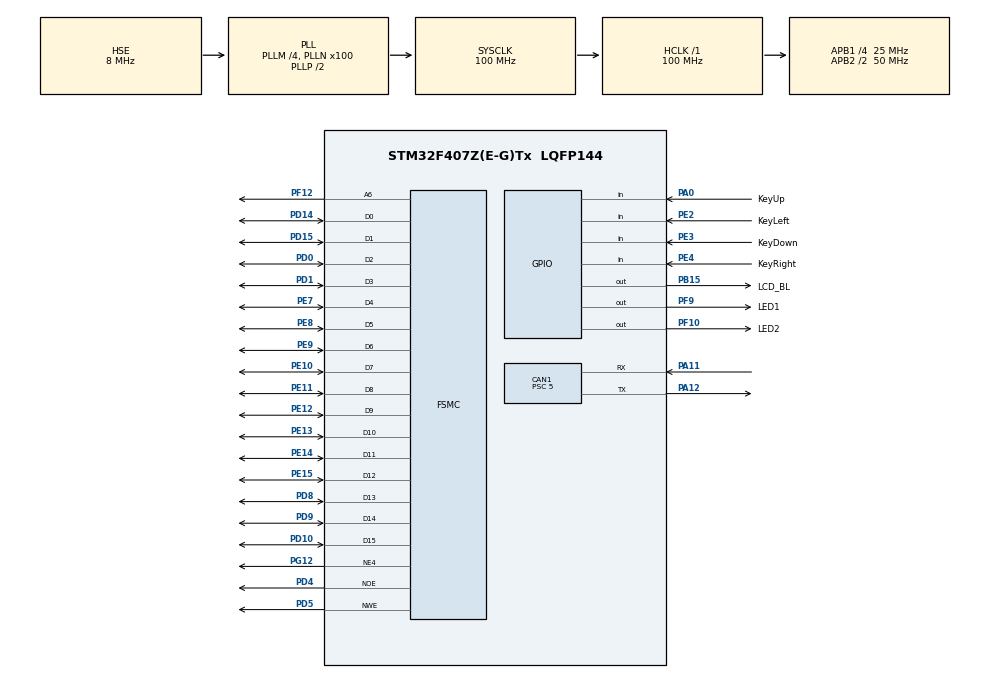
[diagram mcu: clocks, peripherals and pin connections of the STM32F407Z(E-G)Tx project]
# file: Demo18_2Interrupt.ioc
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CAN1.AWUM=ENABLE
CAN1.BS1=CAN_BS1_4TQ
CAN1.BS2=CAN_BS2_3TQ
CAN1.CalculateBaudRate=625000
CAN1.CalculateTimeBit=1600
CAN1.CalculateTimeQuantum=200.0
CAN1.Mode=CAN_MODE_LOOPBACK
CAN1.NART=ENABLE
CAN1.Prescaler=5
FSMC.AddressSetupTime4=2
FSMC.BusTurnAroundDuration4=0
FSMC.DataSetupTime4=16
FSMC.ExtendedAddressSetupTime4=4
FSMC.ExtendedBusTurnAroundDuration4=0
FSMC.ExtendedDataSetupTime4=9
FSMC.ExtendedMode4=FSMC_EXTENDED_MODE_ENABLE
Mcu.Family=STM32F4
Mcu.Name=STM32F407Z(E-G)Tx
Mcu.Package=LQFP144
NVIC.CAN1_RX0_IRQn=true\:1\:0\:true\:false\:true\:true\:true\:true
NVIC.CAN1_RX1_IRQn=true\:1\:0\:true\:false\:true\:true\:true\:true
NVIC.PriorityGroup=NVIC_PRIORITYGROUP_4
PA0-WKUP.GPIO_Label=KeyUp
PA0-WKUP.GPIO_PuPd=GPIO_PULLDOWN
PA0-WKUP.Signal=GPIO_Input
PA11.Mode=CAN_Activate
PA11.Signal=CAN1_RX
PA12.Mode=CAN_Activate
PA12.Signal=CAN1_TX
PA13.Mode=Serial_Wire
PA13.Signal=SYS_JTMS-SWDIO
PA14.Mode=Serial_Wire
PA14.Signal=SYS_JTCK-SWCLK
PB15.GPIO_Label=LCD_BL
PB15.PinState=GPIO_PIN_RESET
PB15.Signal=GPIO_Output
PD0.Signal=FSMC_D2_DA2
PD1.Signal=FSMC_D3_DA3
PD10.Signal=FSMC_D15_DA15
PD14.Signal=FSMC_D0_DA0
PD15.Signal=FSMC_D1_DA1
PD4.Signal=FSMC_NOE
PD5.Signal=FSMC_NWE
PD8.Signal=FSMC_D13_DA13
PD9.Signal=FSMC_D14_DA14
PE10.Signal=FSMC_D7_DA7
PE11.Signal=FSMC_D8_DA8
PE12.Signal=FSMC_D9_DA9
PE13.Signal=FSMC_D10_DA10
PE14.Signal=FSMC_D11_DA11
PE15.Signal=FSMC_D12_DA12
PE2.GPIO_Label=KeyLeft
PE2.GPIO_PuPd=GPIO_PULLUP
PE2.Signal=GPIO_Input
PE3.GPIO_Label=KeyDown
PE3.GPIO_PuPd=GPIO_PULLUP
PE3.Signal=GPIO_Input
PE4.GPIO_Label=KeyRight
PE4.GPIO_PuPd=GPIO_PULLUP
PE4.Signal=GPIO_Input
PE7.Signal=FSMC_D4_DA4
PE8.Signal=FSMC_D5_DA5
PE9.Signal=FSMC_D6_DA6
PF10.GPIO_Label=LED2
PF10.Signal=GPIO_Output
PF12.Signal=FSMC_A6
PF9.GPIO_Label=LED1
PF9.Signal=GPIO_Output
PG12.Mode=NorPsramChipSelect4_4
PG12.Signal=FSMC_NE4
PH0-OSC_IN.Mode=HSE-External-Oscillator
PH0-OSC_IN.Signal=RCC_OSC_IN
PH1-OSC_OUT.Mode=HSE-External-Oscillator
PH1-OSC_OUT.Signal=RCC_OSC_OUT
ProjectManager.HeapSize=0x200
ProjectManager.StackSize=0x400
ProjectManager.TargetToolchain=STM32CubeIDE
RCC.48MHZClocksFreq_Value=40000000
RCC.AHBFreq_Value=100000000
RCC.APB1CLKDivider=RCC_HCLK_DIV4
RCC.APB1Freq_Value=25000000
RCC.APB1TimFreq_Value=50000000
RCC.APB2CLKDivider=RCC_HCLK_DIV2
RCC.APB2Freq_Value=50000000
RCC.APB2TimFreq_Value=100000000
RCC.CortexFreq_Value=100000000
RCC.FLatency=FLASH_LATENCY_3
RCC.HCLKFreq_Value=100000000
RCC.HSE_VALUE=8000000
RCC.HSI_VALUE=16000000
RCC.LSE_VALUE=32768
RCC.PLLM=4
RCC.PLLN=100
RCC.PLLQ=5
RCC.PLLSourceVirtual=RCC_PLLSOURCE_HSE
RCC.SYSCLKFreq_VALUE=100000000
RCC.SYSCLKSource=RCC_SYSCLKSOURCE_PLLCLK
RCC.VCOOutputFreq_Value=200000000
SH.FSMC_A6.0=FSMC_A6,A6_4
SH.FSMC_D0_DA0.0=FSMC_D0,16b-d4
SH.FSMC_D10_DA10.0=FSMC_D10,16b-d4
SH.FSMC_D11_DA11.0=FSMC_D11,16b-d4
SH.FSMC_D12_DA12.0=FSMC_D12,16b-d4
SH.FSMC_D13_DA13.0=FSMC_D13,16b-d4
SH.FSMC_D14_DA14.0=FSMC_D14,16b-d4
SH.FSMC_D15_DA15.0=FSMC_D15,16b-d4
SH.FSMC_D1_DA1.0=FSMC_D1,16b-d4
SH.FSMC_D2_DA2.0=FSMC_D2,16b-d4
SH.FSMC_D3_DA3.0=FSMC_D3,16b-d4
SH.FSMC_D4_DA4.0=FSMC_D4,16b-d4
SH.FSMC_D5_DA5.0=FSMC_D5,16b-d4
SH.FSMC_D6_DA6.0=FSMC_D6,16b-d4
SH.FSMC_D7_DA7.0=FSMC_D7,16b-d4
SH.FSMC_D8_DA8.0=FSMC_D8,16b-d4
SH.FSMC_D9_DA9.0=FSMC_D9,16b-d4
SH.FSMC_NOE.0=FSMC_NOE,Lcd4
SH.FSMC_NWE.0=FSMC_NWE,Lcd4
VP_RNG_VS_RNG.Mode=RNG_Activate
board=custom

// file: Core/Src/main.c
/* USER CODE BEGIN Header */
/**
  ******************************************************************************
  * @file           : main.c
  * @brief          : Main program body
  ******************************************************************************
  * @attention
  *
  * Copyright (c) 2023 STMicroelectronics.
  * All rights reserved.
  *
  * This software is licensed under terms that can be found in the LICENSE file
  * in the root directory of this software component.
  * If no LICENSE file comes with this software, it is provided AS-IS.
  *
  ******************************************************************************
  */
/* USER CODE END Header */
#include "main.h"
#include "can.h"
#include "rng.h"
#include "gpio.h"
#include "fsmc.h"

/* USER CODE BEGIN Includes */
#include "lcd.h"
#include "keyled.h"
/* USER CODE END Includes */

void SystemClock_Config(void);

int main(void)
{

  /* MCU Configuration--------------------------------------------------------*/

  /* Reset of all peripherals, Initializes the Flash interface and the Systick. */
  HAL_Init();

  /* Configure the system clock */
  SystemClock_Config();

  /* Initialize all configured peripherals */
  MX_GPIO_Init();
  MX_FSMC_Init();
  MX_CAN1_Init();
  MX_RNG_Init();
  /* USER CODE BEGIN 2 */
  lcd_init();
  lcd_show_str(10, 10 + 0 * 30, 24, "Demo18_2: CAN Interrupt", RED);
  lcd_show_str(10, 10 + 1 * 30, 24, "Test mode: Loopback", RED);

  if (CAN_SetFilters() == HAL_OK) {
	  lcd_show_str(10, 10 + 2 * 30, 24, "FIFO0 ID Filter: Only Odd IDs", RED);
  }
  if (HAL_CAN_Start(&hcan1) == HAL_OK) {
	  lcd_show_str(10, 10 + 3 * 30, 24, "CAN is started", RED);
  }

  lcd_show_str(10, 10 + 5 * 30, 24, "[1]KeyUp = Send a Data Frame", RED);
  __HAL_CAN_ENABLE_IT(&hcan1, CAN_IT_RX_FIFO0_MSG_PENDING);
  __HAL_CAN_ENABLE_IT(&hcan1, CAN_IT_RX_FIFO1_MSG_PENDING);
  /* USER CODE END 2 */

  /* Infinite loop */
  /* USER CODE BEGIN WHILE */
  uint8_t msgID = 1;
  while (1)
  {
	  KEYS curkey = ScanPressedKey(KEY_WAIT_ALWAYS);
	  if (curkey == KEY_UP) {
		  lcd_fill(0, 10 + 6 * 30, 479, 10 + 16 * 30, WHITE);
		  CAN_SendMsg(msgID++, CAN_RTR_DATA);
	  }
	  HAL_Delay(500);
    /* USER CODE END WHILE */

  }
}

void SystemClock_Config(void)
{
  RCC_OscInitTypeDef RCC_OscInitStruct = {0};
  RCC_ClkInitTypeDef RCC_ClkInitStruct = {0};

  /** Configure the main internal regulator output voltage
  */
  __HAL_RCC_PWR_CLK_ENABLE();
  __HAL_PWR_VOLTAGESCALING_CONFIG(PWR_REGULATOR_VOLTAGE_SCALE1);

  /** Initializes the RCC Oscillators according to the specified parameters
  * in the RCC_OscInitTypeDef structure.
  */
  RCC_OscInitStruct.OscillatorType = RCC_OSCILLATORTYPE_HSE;
  RCC_OscInitStruct.HSEState = RCC_HSE_ON;
  RCC_OscInitStruct.PLL.PLLState = RCC_PLL_ON;
  RCC_OscInitStruct.PLL.PLLSource = RCC_PLLSOURCE_HSE;
  RCC_OscInitStruct.PLL.PLLM = 4;
  RCC_OscInitStruct.PLL.PLLN = 100;
  RCC_OscInitStruct.PLL.PLLP = RCC_PLLP_DIV2;
  RCC_OscInitStruct.PLL.PLLQ = 5;
  if (HAL_RCC_OscConfig(&RCC_OscInitStruct) != HAL_OK)
  {
    Error_Handler();
  }

  /** Initializes the CPU, AHB and APB buses clocks
  */
  RCC_ClkInitStruct.ClockType = RCC_CLOCKTYPE_HCLK|RCC_CLOCKTYPE_SYSCLK
                              |RCC_CLOCKTYPE_PCLK1|RCC_CLOCKTYPE_PCLK2;
  RCC_ClkInitStruct.SYSCLKSource = RCC_SYSCLKSOURCE_PLLCLK;
  RCC_ClkInitStruct.AHBCLKDivider = RCC_SYSCLK_DIV1;
  RCC_ClkInitStruct.APB1CLKDivider = RCC_HCLK_DIV4;
  RCC_ClkInitStruct.APB2CLKDivider = RCC_HCLK_DIV2;

  if (HAL_RCC_ClockConfig(&RCC_ClkInitStruct, FLASH_LATENCY_3) != HAL_OK)
  {
    Error_Handler();
  }
}

void Error_Handler(void)
{
  __disable_irq();
  while (1)
  {
  }
}
